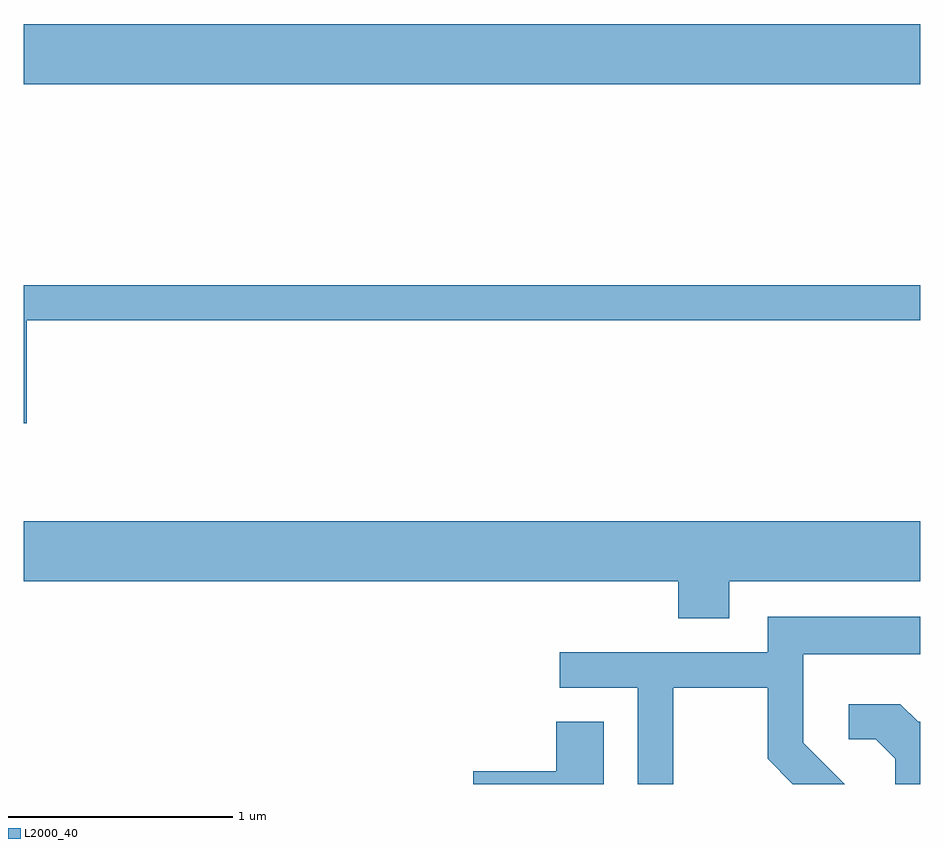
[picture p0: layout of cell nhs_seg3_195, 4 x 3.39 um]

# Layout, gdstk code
import gdstk
lib = gdstk.Library(unit=1e-6, precision=1e-09)
def R(c, l, rs):  # rectangles x0, y0, x1, y1
    for r in rs: c.add(gdstk.rectangle(r[:2], r[2:], *l))
def P(c, l, *ps):  # polygons
    for p in ps: c.add(gdstk.Polygon(p, *l))
L2000_40 = (2000, 40)

nhs_seg3_195 = lib.new_cell('nhs_seg3_195')
R(nhs_seg3_195, L2000_40, [(189.611,1237.016,193.611,1237.284)])
P(nhs_seg3_195, L2000_40, [(189.624,1235.961),(193.611,1235.961),(193.611,1236.119),(189.611,1236.119),(189.611,1235.501),(189.624,1235.501)],
  [(192.759,1234.796),(193.611,1234.796),(193.611,1235.064),(189.611,1235.064),(189.611,1234.796),(192.531,1234.796),(192.531,1234.631),(192.759,1234.631)],
  [(192.509,1234.321),(192.931,1234.321),(192.931,1234.004),(193.043,1233.892),(193.274,1233.892),(193.089,1234.077),(193.089,1234.471),(193.611,1234.471),(193.611,1234.639),(192.931,1234.639),(192.931,1234.479),(192.003,1234.479),(192.003,1234.321),(192.351,1234.321),(192.351,1233.892),(192.509,1233.892)],
  [(193.611,1234.169),(193.602,1234.169),(193.522,1234.249),(193.293,1234.249),(193.293,1234.091),(193.414,1234.091),(193.501,1234.004),(193.501,1233.892),(193.611,1233.892)],
  [(192.199,1234.169),(191.986,1234.169),(191.986,1233.949),(191.616,1233.949),(191.616,1233.892),(192.199,1233.892)])

lib.write_gds('nhs_seg3_195.gds')
